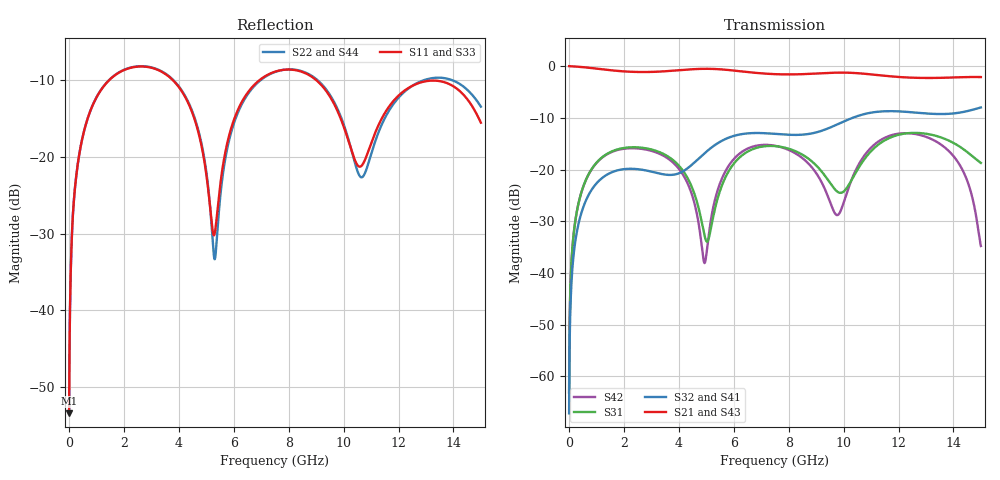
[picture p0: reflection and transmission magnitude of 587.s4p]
! Created with skrf 1.8.0 (http://scikit-rf.org).
# GHz S RI R 50.0
!freq ReS11 ImS11 ReS12 ImS12 ReS13 ImS13
! ReS14 ImS14
! ReS21 ImS21 ReS22 ImS22 ReS23 ImS23
! ReS24 ImS24
! ReS31 ImS31 ReS32 ImS32 ReS33 ImS33
! ReS34 ImS34
! ReS41 ImS41 ReS42 ImS42 ReS43 ImS43
! ReS44 ImS44
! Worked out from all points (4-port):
!   2499 points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, 5 MHz to 15 GHz, reference 50 ohm
!   strongest paths, dB at 5 MHz, 3.476 GHz, 7.19 GHz, 11.1 GHz, 15 GHz:
!     S21: 0.0, -1.0, -1.5, -1.7, -2.1
!     S43: 0.0, -1.0, -1.5, -1.7, -2.1
!     S32: -67.2, -21.0, -13.0, -8.9, -8.0
!     S41: -67.2, -21.0, -13.0, -8.9, -8.0
!     S31: -63.1, -17.1, -15.5, -15.9, -18.7
!     S42: -63.1, -17.4, -15.2, -15.3, -34.8
!   lowest |S11| = -53.4 dB at 5 MHz (marker M1), VSWR 1.00, Z = 50.2 + j0.129 ohm
!   |S11| at or under -10 dB: start of sweep to 1.453 GHz; 3.792 GHz to 6.926 GHz (3.134 GHz wide, 58.5 % of centre); 9.017 GHz to end of sweep
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0.005  0.00169 0.00128  0.9983 -0.0033  8.6e-05 0.000692  -8.34e-05 -0.000431
       0.9983 -0.0033  0.00169 0.00128  -8.34e-05 -0.000431  8.59e-05 0.000692
       8.6e-05 0.000692  -8.34e-05 -0.000431  0.00169 0.00128  0.9983 -0.0033
       -8.34e-05 -0.000431  8.59e-05 0.000692  0.9983 -0.0033  0.00169 0.00128
0.3626511  0.0319 0.0959  0.9559 -0.2356  0.0159 0.0464  -0.0129 -0.0283
           0.9559 -0.2356  0.032 0.0959  -0.0129 -0.0283  0.0154 0.0466
           0.0159 0.0464  -0.0129 -0.0283  0.0319 0.0959  0.9559 -0.2356
           -0.0129 -0.0283  0.0154 0.0466  0.9559 -0.2356  0.032 0.0959
1.77574  0.3184 0.1495  0.4272 -0.7902  0.1517 0.0398  -0.0969 0.0149
         0.4272 -0.7902  0.3204 0.1476  -0.0971 0.0152  0.1462 0.0499
         0.1517 0.0398  -0.0971 0.0152  0.3182 0.1497  0.4272 -0.7902
         -0.0969 0.0149  0.1462 0.0499  0.4272 -0.7902  0.3205 0.1475
5.302209  0.031 0.00508  -0.9356 -0.0606  -0.00962 0.039  -0.00778 0.1714
          -0.9356 -0.0606  0.0215 -0.00167  -0.00455 0.1714  0.0221 0.044
          -0.00962 0.039  -0.00455 0.1714  0.0324 0.00566  -0.9356 -0.0603
          -0.00778 0.1714  0.0221 0.044  -0.9356 -0.0603  0.0202 -0.000965
8.165902  0.3701 -0.024  -0.0175 0.8311  0.1228 -0.0919  0.209 -0.0497
          -0.0175 0.8311  0.3718 -0.0238  0.2088 -0.0559  0.1246 -0.0785
          0.1228 -0.0919  0.2088 -0.0559  0.3699 -0.0247  -0.0176 0.8309
          0.209 -0.0497  0.1246 -0.0785  -0.0176 0.8309  0.3734 -0.0228
10.94831  0.1049 0.0479  0.8332 -0.04  0.0352 0.1409  -0.031 -0.3505
          0.8332 -0.04  0.0877 0.0409  -0.0423 -0.3499  0.0507 0.1489
          0.0352 0.1409  -0.0423 -0.3499  0.1031 0.0481  0.833 -0.0402
          -0.031 -0.3505  0.0507 0.1489  0.833 -0.0402  0.0904 0.0449
15  0.1465 -0.0811  -0.5375 -0.5698  -0.084 -0.0796  -0.2908 0.2712
    -0.5375 -0.5698  0.1776 -0.1182  -0.2762 0.2868  -0.016 -0.00866
    -0.084 -0.0796  -0.2762 0.2868  0.1564 -0.0834  -0.5335 -0.5711
    -0.2908 0.2712  -0.016 -0.00866  -0.5335 -0.5711  0.1835 -0.1247
